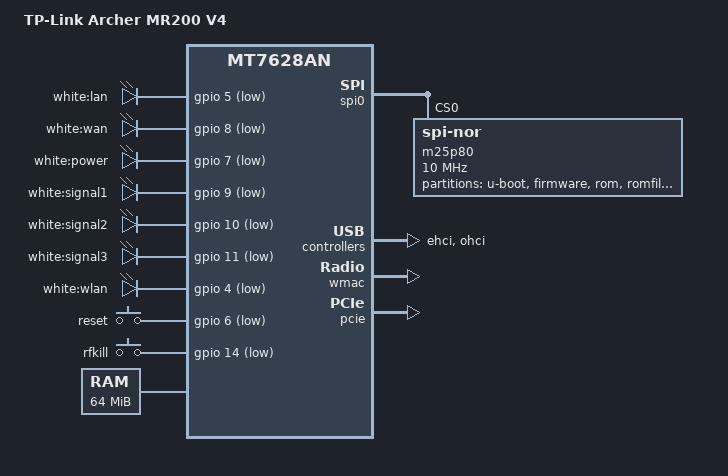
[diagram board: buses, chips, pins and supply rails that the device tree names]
/dts-v1/;

#include "mt7628an.dtsi"

#include <dt-bindings/gpio/gpio.h>
#include <dt-bindings/input/input.h>

/ {
	compatible = "tplink,mr200-v4", "mediatek,mt7628an-soc";
	model = "TP-Link Archer MR200 V4";

	aliases {
		led-boot = &led_power;
		led-failsafe = &led_power;
		led-running = &led_power;
		led-upgrade = &led_power;
	};

	chosen {
		bootargs = "console=ttyS0,115200";
	};

	leds {
		compatible = "gpio-leds";

		lan {
			label = "white:lan";
			gpios = <&gpio 5 GPIO_ACTIVE_LOW>;
		};

		wan {
			label = "white:wan";
			gpios = <&gpio 8 GPIO_ACTIVE_LOW>;
		};

		led_power: power {
			label = "white:power";
			gpios = <&gpio 7 GPIO_ACTIVE_LOW>;
		};

		signal1 {
			label = "white:signal1";
			gpios = <&gpio 9 GPIO_ACTIVE_LOW>;
		};

		signal2 {
			label = "white:signal2";
			gpios = <&gpio 10 GPIO_ACTIVE_LOW>;
		};

		signal3 {
			label = "white:signal3";
			gpios = <&gpio 11 GPIO_ACTIVE_LOW>;
		};

		wlan {
			label = "white:wlan";
			gpios = <&gpio 4 GPIO_ACTIVE_LOW>;
		};
	};

	keys {
		compatible = "gpio-keys";

		reset {
			label = "reset";
			gpios = <&gpio 6 GPIO_ACTIVE_LOW>;
			linux,code = <KEY_RESTART>;
		};

		rfkill {
			label = "rfkill";
			gpios = <&gpio 14 GPIO_ACTIVE_LOW>;
			linux,code = <KEY_RFKILL>;
		};
	};

	memory@0 {
		device_type = "memory";
		reg = <0x0 0x4000000>;
	};
};

&spi0 {
	status = "okay";

	m25p80@0 {
		compatible = "jedec,spi-nor";
		reg = <0>;
		spi-max-frequency = <10000000>;

		partitions {
			compatible = "fixed-partitions";
			#address-cells = <1>;
			#size-cells = <1>;

			partition@0 {
				label = "u-boot";
				reg = <0x0 0x20000>;
				read-only;
			};

			partition@20000 {
				compatible = "tplink,firmware";
				label = "firmware";
				reg = <0x20000 0x7b0000>;
			};

			rom: partition@7d0000 {
				label = "rom";
				reg = <0x7d0000 0x10000>;
				read-only;
			};

			romfile: partition@7e0000 {
				label = "romfile";
				reg = <0x7e0000 0x10000>;
				read-only;
			};

			radio: partition@7f0000 {
				label = "radio";
				reg = <0x7f0000 0x10000>;
				read-only;
			};
		};
	};
};

&ehci {
	status = "okay";
};

&ohci {
	status = "okay";
};

&pinctrl {
	state_default: pinctrl0 {
		gpio {
			ralink,group = "i2c", "refclk", "sdmode", "uart1", "uart2", "wdt", "p2led_an", "p1led_an", 
"p0led_an", 
"wled_an";
			ralink,function = "gpio";
		};
	};
};

&wmac {
	mediatek,mtd-eeprom = <&radio 0>;
	mtd-mac-address = <&romfile 0xf100>;
	status = "okay";
};

&ethernet {
	mtd-mac-address = <&romfile 0xf100>;
	/* mediatek,portmap = "llll"; */
	mediatek,portmap = <0x3f>;
};

&pcie {
	status = "okay";
};

&pcie0 {
	mt76@0,0 {
		reg = <0x0000 0 0 0 0>;
		mediatek,mtd-eeprom = <&radio 0x8000>;
	};
};
